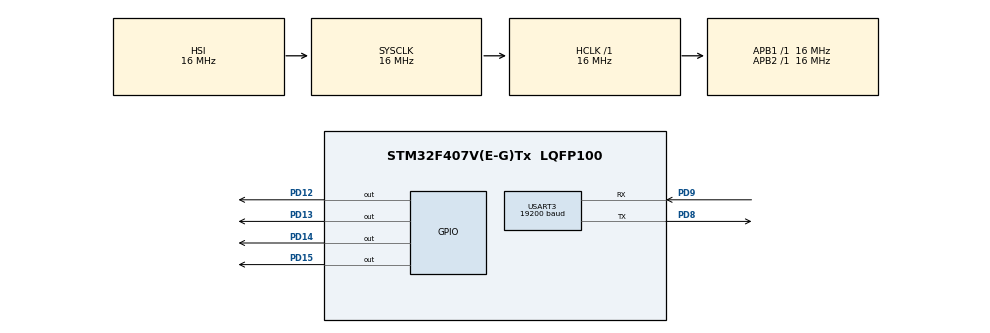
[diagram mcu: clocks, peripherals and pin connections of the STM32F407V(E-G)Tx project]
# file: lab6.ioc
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Mcu.Family=STM32F4
Mcu.Name=STM32F407V(E-G)Tx
Mcu.Package=LQFP100
NVIC.PriorityGroup=NVIC_PRIORITYGROUP_4
PD12.Signal=GPIO_Output
PD13.Signal=GPIO_Output
PD14.Signal=GPIO_Output
PD15.Signal=GPIO_Output
PD8.Mode=Asynchronous
PD8.Signal=USART3_TX
PD9.Mode=Asynchronous
PD9.Signal=USART3_RX
ProjectManager.HeapSize=0x200
ProjectManager.StackSize=0x400
ProjectManager.TargetToolchain=STM32CubeIDE
RCC.AHBFreq_Value=16000000
RCC.APB1Freq_Value=16000000
RCC.APB2Freq_Value=16000000
RCC.CortexFreq_Value=16000000
RCC.HSE_VALUE=25000000
RCC.HSI_VALUE=16000000
RCC.LSE_VALUE=32768
RCC.SYSCLKFreq_VALUE=16000000
RCC.VCOOutputFreq_Value=192000000
USART3.BaudRate=19200
USART3.VirtualMode=VM_ASYNC
board=custom

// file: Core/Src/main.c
/* USER CODE BEGIN Header */
/**
  ******************************************************************************
  * @file           : main.c
  * @brief          : Main program body
  ******************************************************************************
  * @attention
  *
  * Copyright (c) 2024 STMicroelectronics.
  * All rights reserved.
  *
  * This software is licensed under terms that can be found in the LICENSE file
  * in the root directory of this software component.
  * If no LICENSE file comes with this software, it is provided AS-IS.
  *
  ******************************************************************************
  */
/* USER CODE END Header */
#include "main.h"

/* USER CODE BEGIN Includes */
#include <string.h>
#include <stdio.h>
/* USER CODE END Includes */

UART_HandleTypeDef huart3;

void SystemClock_Config(void);
static void MX_GPIO_Init(void);
static void MX_USART3_UART_Init(void);

/* USER CODE BEGIN 0 */
void led_ON(uint16_t led, const char *color)
{
	char message[20];
	sprintf(message, " - %s ON\r\n", color);

	HAL_GPIO_WritePin(GPIOD, led, GPIO_PIN_SET);
	HAL_UART_Transmit(&huart3, (uint8_t *)message, strlen(message), 100);
}

void led_OFF(uint16_t led, const char *color)
{
	char message[20];
	sprintf(message, " - %s OFF\r\n", color);

	HAL_GPIO_WritePin(GPIOD, led, GPIO_PIN_RESET);
	HAL_UART_Transmit(&huart3, (uint8_t *)message, strlen(message), 100);
}
/* USER CODE END 0 */

int main(void)
{

  /* MCU Configuration--------------------------------------------------------*/

  /* Reset of all peripherals, Initializes the Flash interface and the Systick. */
  HAL_Init();

  /* Configure the system clock */
  SystemClock_Config();

  /* Initialize all configured peripherals */
  MX_GPIO_Init();
  MX_USART3_UART_Init();

  /* Infinite loop */
  /* USER CODE BEGIN WHILE */
  while (1)
  {
	  uint8_t rcvBuf[1];
	  HAL_StatusTypeDef result;

	  result = HAL_UART_Receive(&huart3, rcvBuf, 1, 10);

	  if (result == HAL_OK)
	  {
		  switch (rcvBuf[0])
		  {
		  	  case '1':
		  		  led_ON(GPIO_PIN_12, "Green");
		  		  break;

		  	  case '2':
	  			  led_ON(GPIO_PIN_13, "Orange");
				  break;

		  	  case '3':
	  			  led_ON(GPIO_PIN_14, "Red");
				  break;

		  	  case '4':
	  			  led_ON(GPIO_PIN_15, "Blue");
				  break;

		  	  case 'q':
	  			  led_OFF(GPIO_PIN_12, "Green");
				  break;

		  	  case 'w':
	  			  led_OFF(GPIO_PIN_13, "Orange");
	  			  break;

		  	  case 'e':
		  		  led_OFF(GPIO_PIN_14, "Red");
		  		  break;

		  	  case 'r':
		  		  led_OFF(GPIO_PIN_15, "Blue");
		  		  break;

		  	  case 'n':
		  		  HAL_GPIO_WritePin(GPIOD, GPIO_PIN_12, GPIO_PIN_SET);
	  			  HAL_GPIO_WritePin(GPIOD, GPIO_PIN_13, GPIO_PIN_SET);
	  			  HAL_GPIO_WritePin(GPIOD, GPIO_PIN_14, GPIO_PIN_SET);
	  			  HAL_GPIO_WritePin(GPIOD, GPIO_PIN_15, GPIO_PIN_SET);
	  			  HAL_UART_Transmit(&huart3, (uint8_t *)" - All is ON\r\n", 14, 100);
				  break;

		  	  case 'f':
		  		  HAL_GPIO_WritePin(GPIOD, GPIO_PIN_12, GPIO_PIN_RESET);
	  			  HAL_GPIO_WritePin(GPIOD, GPIO_PIN_13, GPIO_PIN_RESET);
	  			  HAL_GPIO_WritePin(GPIOD, GPIO_PIN_14, GPIO_PIN_RESET);
	  			  HAL_GPIO_WritePin(GPIOD, GPIO_PIN_15, GPIO_PIN_RESET);
	 			  HAL_UART_Transmit(&huart3, (uint8_t *)" - All is OFF\r\n", 15, 100);
 				  break;

		  	  default:
	  			  HAL_UART_Transmit(&huart3, (uint8_t *)" - UnexpCmd\r\n", 13, 100);
		  }
	  }
    /* USER CODE END WHILE */

  }
}

void SystemClock_Config(void)
{
  RCC_OscInitTypeDef RCC_OscInitStruct = {0};
  RCC_ClkInitTypeDef RCC_ClkInitStruct = {0};

  /** Configure the main internal regulator output voltage
  */
  __HAL_RCC_PWR_CLK_ENABLE();
  __HAL_PWR_VOLTAGESCALING_CONFIG(PWR_REGULATOR_VOLTAGE_SCALE1);

  /** Initializes the RCC Oscillators according to the specified parameters
  * in the RCC_OscInitTypeDef structure.
  */
  RCC_OscInitStruct.OscillatorType = RCC_OSCILLATORTYPE_HSI;
  RCC_OscInitStruct.HSIState = RCC_HSI_ON;
  RCC_OscInitStruct.HSICalibrationValue = RCC_HSICALIBRATION_DEFAULT;
  RCC_OscInitStruct.PLL.PLLState = RCC_PLL_NONE;
  if (HAL_RCC_OscConfig(&RCC_OscInitStruct) != HAL_OK)
  {
    Error_Handler();
  }

  /** Initializes the CPU, AHB and APB buses clocks
  */
  RCC_ClkInitStruct.ClockType = RCC_CLOCKTYPE_HCLK|RCC_CLOCKTYPE_SYSCLK
                              |RCC_CLOCKTYPE_PCLK1|RCC_CLOCKTYPE_PCLK2;
  RCC_ClkInitStruct.SYSCLKSource = RCC_SYSCLKSOURCE_HSI;
  RCC_ClkInitStruct.AHBCLKDivider = RCC_SYSCLK_DIV1;
  RCC_ClkInitStruct.APB1CLKDivider = RCC_HCLK_DIV1;
  RCC_ClkInitStruct.APB2CLKDivider = RCC_HCLK_DIV1;

  if (HAL_RCC_ClockConfig(&RCC_ClkInitStruct, FLASH_LATENCY_0) != HAL_OK)
  {
    Error_Handler();
  }
}

static void MX_USART3_UART_Init(void)
{

  huart3.Instance = USART3;
  huart3.Init.BaudRate = 19200;
  huart3.Init.WordLength = UART_WORDLENGTH_8B;
  huart3.Init.StopBits = UART_STOPBITS_1;
  huart3.Init.Parity = UART_PARITY_NONE;
  huart3.Init.Mode = UART_MODE_TX_RX;
  huart3.Init.HwFlowCtl = UART_HWCONTROL_NONE;
  huart3.Init.OverSampling = UART_OVERSAMPLING_16;
  if (HAL_UART_Init(&huart3) != HAL_OK)
  {
    Error_Handler();
  }

}

static void MX_GPIO_Init(void)
{
  GPIO_InitTypeDef GPIO_InitStruct = {0};

  /* GPIO Ports Clock Enable */
  __HAL_RCC_GPIOD_CLK_ENABLE();

  /*Configure GPIO pin Output Level */
  HAL_GPIO_WritePin(GPIOD, GPIO_PIN_12|GPIO_PIN_13|GPIO_PIN_14|GPIO_PIN_15, GPIO_PIN_RESET);

  /*Configure GPIO pins : PD12 PD13 PD14 PD15 */
  GPIO_InitStruct.Pin = GPIO_PIN_12|GPIO_PIN_13|GPIO_PIN_14|GPIO_PIN_15;
  GPIO_InitStruct.Mode = GPIO_MODE_OUTPUT_PP;
  GPIO_InitStruct.Pull = GPIO_NOPULL;
  GPIO_InitStruct.Speed = GPIO_SPEED_FREQ_LOW;
  HAL_GPIO_Init(GPIOD, &GPIO_InitStruct);

}

void Error_Handler(void)
{
  __disable_irq();
  while (1)
  {
  }
}
